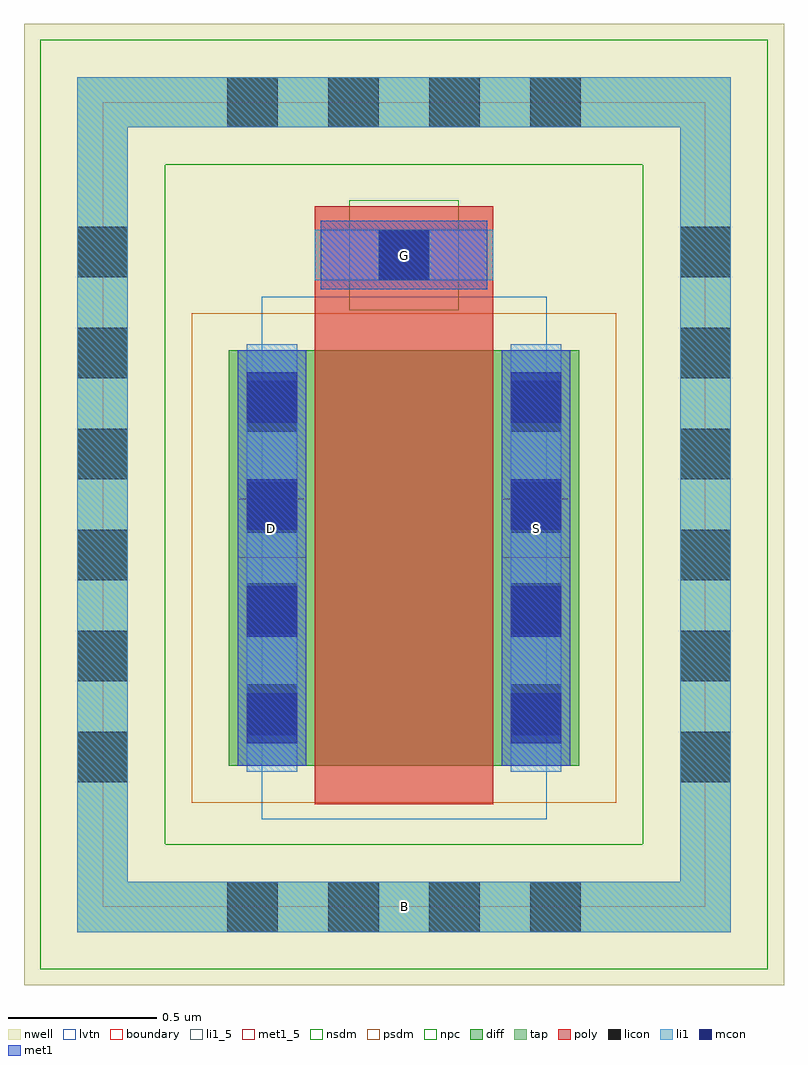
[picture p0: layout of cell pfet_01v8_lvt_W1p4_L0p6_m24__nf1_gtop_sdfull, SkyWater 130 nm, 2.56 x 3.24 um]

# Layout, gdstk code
import gdstk
lib = gdstk.Library(unit=1e-6, precision=1e-09)
def R(c, l, rs):  # rectangles x0, y0, x1, y1
    for r in rs: c.add(gdstk.rectangle(r[:2], r[2:], *l))
def A(c, l, x, y, w, h, nx, ny, dx, dy):  # array of equal rectangles
    R(c, l, [(x+i*dx, y+j*dy, x+i*dx+w, y+j*dy+h) for i in range(nx) for j in range(ny)])
nwell = (64, 20)
diff = (65, 20)
tap = (65, 44)
poly = (66, 20)
licon = (66, 44)
li1_5 = (67, 5)
li1 = (67, 20)
mcon = (67, 44)
met1_5 = (68, 5)
met1 = (68, 20)
nsdm = (93, 44)
psdm = (94, 20)
npc = (95, 20)
lvtn = (125, 44)
boundary = (235, 4)

sky130_fd_pr__pfet_01v8_ = lib.new_cell('sky130_fd_pr__pfet_01v8_lvt_AG4ZXP')
R(sky130_fd_pr__pfet_01v8_, nwell, [(-1.28,-1.62,1.28,1.62)])
R(sky130_fd_pr__pfet_01v8_, diff, [(-0.59,-0.88,0.59,0.52)])
R(sky130_fd_pr__pfet_01v8_, tap, [(-1.1,-1.44,1.1,-1.27), (-1.1,-1.27,-0.93,1.27), (0.93,-1.27,1.1,1.27), (-1.1,1.27,1.1,1.44)])
R(sky130_fd_pr__pfet_01v8_, poly, [(-0.3,-1.01,0.3,1.005)])
A(sky130_fd_pr__pfet_01v8_, licon, -0.595, -1.44, 0.17, 0.17, 4, 2, 0.34, 2.71)
A(sky130_fd_pr__pfet_01v8_, licon, -1.1, -0.935, 0.17, 0.17, 1, 6, 0, 0.34)
A(sky130_fd_pr__pfet_01v8_, licon, 0.93, -0.935, 0.17, 0.17, 1, 6, 0, 0.34)
A(sky130_fd_pr__pfet_01v8_, licon, -0.53, -0.775, 0.17, 0.17, 1, 4, 0, 0.34)
A(sky130_fd_pr__pfet_01v8_, licon, 0.36, -0.775, 0.17, 0.17, 1, 4, 0, 0.34)
R(sky130_fd_pr__pfet_01v8_, licon, [(-0.085,0.755,0.085,0.925)])
R(sky130_fd_pr__pfet_01v8_, li1, [(-1.1,-1.44,1.1,-1.27), (-1.1,-1.27,-0.93,1.27), (0.93,-1.27,1.1,1.27), (-0.53,-0.9,-0.36,0.54), (0.36,-0.9,0.53,0.54), (-0.3,0.755,0.3,0.925), (-1.1,1.27,1.1,1.44)])
A(sky130_fd_pr__pfet_01v8_, mcon, -0.53, -0.805, 0.17, 0.17, 1, 4, 0, 0.36)
A(sky130_fd_pr__pfet_01v8_, mcon, 0.36, -0.805, 0.17, 0.17, 1, 4, 0, 0.36)
R(sky130_fd_pr__pfet_01v8_, mcon, [(-0.085,0.755,0.085,0.925)])
R(sky130_fd_pr__pfet_01v8_, met1, [(-0.56,-0.88,-0.33,0.52), (0.33,-0.88,0.56,0.52), (-0.28,0.725,0.28,0.955)])
R(sky130_fd_pr__pfet_01v8_, nsdm, [(-1.225,-1.565,1.225,-1.145), (-1.225,-1.145,-0.805,1.145), (0.805,-1.145,1.225,1.145), (-1.225,1.145,1.225,1.565)])
R(sky130_fd_pr__pfet_01v8_, psdm, [(-0.715,-1.005,0.715,0.645)])
R(sky130_fd_pr__pfet_01v8_, npc, [(-0.185,0.655,0.185,1.025)])
R(sky130_fd_pr__pfet_01v8_, lvtn, [(-0.48,-1.06,0.48,0.7)])
R(sky130_fd_pr__pfet_01v8_, boundary, [(-1.015,-1.355,1.015,1.355)])
sky130_fd_pr__pfet_01v8_.add(gdstk.Label('B', (0,-1.355), layer=67, texttype=5))
sky130_fd_pr__pfet_01v8_.add(gdstk.Label('D', (-0.445,-0.18), layer=67, texttype=5))
sky130_fd_pr__pfet_01v8_.add(gdstk.Label('S', (0.445,-0.18), layer=67, texttype=5))
sky130_fd_pr__pfet_01v8_.add(gdstk.Label('G', (0,0.84), layer=67, texttype=5))

pfet_01v8_lvt_w1p4_l0p6_ = lib.new_cell('pfet_01v8_lvt_W1p4_L0p6_m24__nf1_gtop_sdfull')
R(pfet_01v8_lvt_w1p4_l0p6_, li1_5, [(0.93,-0.085,1.1,0.085)])
R(pfet_01v8_lvt_w1p4_l0p6_, li1, [(0.93,-0.085,1.1,0.085)])
R(pfet_01v8_lvt_w1p4_l0p6_, met1_5, [(0.455,1.175,0.685,1.375), (1.345,1.175,1.575,1.375), (0.735,2.08,1.295,2.31)])
R(pfet_01v8_lvt_w1p4_l0p6_, met1, [(0.455,1.175,0.685,1.375), (1.345,1.175,1.575,1.375), (0.735,2.08,1.295,2.31)])
pfet_01v8_lvt_w1p4_l0p6_.add(gdstk.Reference(sky130_fd_pr__pfet_01v8_, (1.015,1.355)))
pfet_01v8_lvt_w1p4_l0p6_.add(gdstk.Label('D', (0.57,1.275), layer=68, texttype=5))
pfet_01v8_lvt_w1p4_l0p6_.add(gdstk.Label('S', (1.46,1.275), layer=68, texttype=5))
pfet_01v8_lvt_w1p4_l0p6_.add(gdstk.Label('G', (1.015,2.195), layer=68, texttype=5))
pfet_01v8_lvt_w1p4_l0p6_.add(gdstk.Label('B', (1.015,0), layer=67, texttype=5))

lib.write_gds('pfet_01v8_lvt_W1p4_L0p6_m24__nf1_gtop_sdfull.gds')
